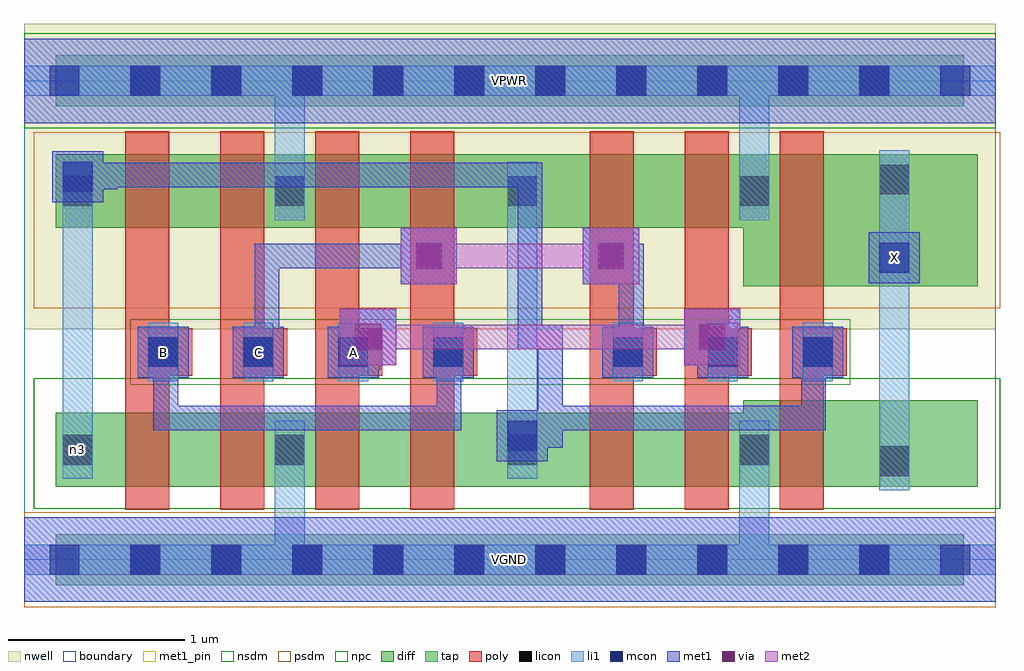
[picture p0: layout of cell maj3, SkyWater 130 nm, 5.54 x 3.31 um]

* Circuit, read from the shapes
.subckt maj3 A B C VGND VPWR X n3
XM1 n1 B n3 VGND sky130_fd_pr__nfet_01v8 w=0.42 l=0.25
XM2 VGND C n1 VGND sky130_fd_pr__nfet_01v8 w=0.42 l=0.25
XM3 n2 A VGND VGND sky130_fd_pr__nfet_01v8 w=0.42 l=0.25
XM4 n3 B n2 VGND sky130_fd_pr__nfet_01v8 w=0.42 l=0.25
XM5 n4 C n3 VGND sky130_fd_pr__nfet_01v8 w=0.42 l=0.25
XM6 VGND A n4 VGND sky130_fd_pr__nfet_01v8 w=0.42 l=0.25
XM7 X n3 VGND VGND sky130_fd_pr__nfet_01v8 w=0.49 l=0.25
XM8 n5 B n3 VPWR sky130_fd_pr__pfet_01v8 w=0.42 l=0.25
XM9 VPWR C n5 VPWR sky130_fd_pr__pfet_01v8 w=0.42 l=0.25
XM10 n6 A VPWR VPWR sky130_fd_pr__pfet_01v8 w=0.42 l=0.25
XM11 n3 B n6 VPWR sky130_fd_pr__pfet_01v8 w=0.42 l=0.25
XM12 n7 C n3 VPWR sky130_fd_pr__pfet_01v8 w=0.42 l=0.25
XM13 VPWR A n7 VPWR sky130_fd_pr__pfet_01v8 w=0.42 l=0.25
XM14 X n3 VPWR VPWR sky130_fd_pr__pfet_01v8 w=0.75 l=0.25
.ends

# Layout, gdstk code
import gdstk
lib = gdstk.Library(unit=1e-6, precision=1e-09)
def R(c, l, rs):  # rectangles x0, y0, x1, y1
    for r in rs: c.add(gdstk.rectangle(r[:2], r[2:], *l))
def A(c, l, x, y, w, h, nx, ny, dx, dy):  # array of equal rectangles
    R(c, l, [(x+i*dx, y+j*dy, x+i*dx+w, y+j*dy+h) for i in range(nx) for j in range(ny)])
nwell = (64, 20)
diff = (65, 20)
tap = (65, 44)
poly = (66, 20)
licon = (66, 44)
li1 = (67, 20)
mcon = (67, 44)
met1_pin = (68, 16)
met1 = (68, 20)
via = (68, 44)
met2 = (69, 20)
nsdm = (93, 44)
psdm = (94, 20)
npc = (95, 20)
boundary = (235, 4)

maj3 = lib.new_cell('maj3')
R(maj3, nwell, [(0,1.31,5.52,3.045)])
R(maj3, diff, [(0.18,0.415,4.295,0.835), (4.085,0.415,5.42,0.905), (4.085,1.555,5.42,2.305), (0.18,1.885,4.295,2.305)])
R(maj3, tap, [(0.18,-0.145,5.34,0.145), (0.18,2.575,5.34,2.865)])
A(maj3, poly, 0.575, 0.285, 0.25, 2.15, 4, 1, 0.54, 0)
A(maj3, poly, 3.215, 0.285, 0.25, 2.15, 3, 1, 0.54, 0)
A(maj3, poly, 0.625, 1.045, 0.33, 0.27, 4, 1, 0.54, 0)
A(maj3, poly, 3.265, 1.045, 0.33, 0.27, 3, 1, 0.54, 0)
A(maj3, licon, 0.605, -0.085, 0.17, 0.17, 10, 2, 0.46, 2.72)
A(maj3, licon, 1.425, 0.54, 0.17, 0.17, 3, 2, 1.32, 1.47)
A(maj3, licon, 0.705, 1.095, 0.17, 0.17, 4, 1, 0.54, 0)
A(maj3, licon, 3.345, 1.095, 0.17, 0.17, 3, 1, 0.54, 0)
R(maj3, licon, [(4.86,0.475,5.03,0.645), (0.22,0.54,0.39,0.71), (0.22,2.01,0.39,2.18), (4.86,2.075,5.03,2.245)])
A(maj3, li1, 1.425, 0.46, 0.17, 0.33, 3, 2, 1.32, 1.47)
A(maj3, li1, 0.705, 1.015, 0.17, 0.33, 4, 1, 0.54, 0)
A(maj3, li1, 3.345, 1.015, 0.17, 0.33, 3, 1, 0.54, 0)
R(maj3, li1, [(0,-0.085,5.52,0.085), (1.425,-0.085,1.595,0.79), (4.065,-0.085,4.235,0.79), (4.86,0.395,5.03,0.725), (4.86,0.395,5.03,2.325), (0.22,0.46,0.39,0.79), (0.22,0.46,0.39,2.26), (2.745,0.46,2.915,2.26), (0.22,1.93,0.39,2.26), (1.425,1.93,1.595,2.805), (4.065,1.93,4.235,2.805), (4.86,1.995,5.03,2.325), (0,2.635,5.52,2.805)])
A(maj3, mcon, 0.145, -0.085, 0.17, 0.17, 12, 2, 0.46, 2.72)
A(maj3, mcon, 0.705, 1.095, 0.17, 0.17, 4, 1, 0.54, 0)
A(maj3, mcon, 3.345, 1.095, 0.17, 0.17, 3, 1, 0.54, 0)
R(maj3, mcon, [(2.745,0.62,2.915,0.79), (4.86,1.63,5.03,1.8), (0.22,2.09,0.39,2.26)])
A(maj3, met1_pin, 0.645, 1.035, 0.29, 0.29, 3, 1, 0.54, 0)
R(maj3, met1_pin, [(0,-0.24,5.52,0.24), (4.8,1.57,5.09,1.86), (0,2.48,5.52,2.96)])
A(maj3, met1, 0.645, 1.035, 0.29, 0.29, 4, 1, 0.54, 0)
A(maj3, met1, 3.285, 1.035, 0.29, 0.29, 3, 1, 0.54, 0)
R(maj3, met1, [(0,-0.24,5.52,0.24), (2.685,0.56,2.975,0.85), (2.76,0.635,3.06,0.775), (2.92,0.635,3.06,0.875), (0.735,0.735,0.875,1.22), (0.735,0.735,2.485,0.875), (2.345,0.735,2.485,1.22), (2.92,0.735,4.555,0.875), (2.92,0.735,3.06,1.335), (4.415,0.735,4.555,1.22), (0.735,1.08,0.875,1.22), (1.31,1.08,1.45,1.22), (1.31,1.08,1.45,1.795), (1.77,1.08,1.91,1.22), (1.77,1.08,2.025,1.22), (1.885,1.08,2.025,1.335), (2.345,1.08,2.485,1.22), (3.38,1.08,3.52,1.22), (3.38,1.08,3.52,1.795), (3.84,1.08,3.98,1.22), (3.84,1.08,3.98,1.335), (4.415,1.08,4.555,1.22), (1.795,1.105,2.115,1.425), (3.75,1.105,4.07,1.425), (2.805,1.195,3.06,1.335), (2.805,1.195,2.945,2.255), (2.14,1.565,2.46,1.885), (3.175,1.565,3.495,1.885), (4.8,1.57,5.09,1.86), (1.31,1.655,2.37,1.795), (3.265,1.655,3.52,1.795), (0.16,2.03,0.45,2.32), (0.235,2.105,0.53,2.245), (0.39,2.105,0.53,2.255), (0.39,2.115,2.945,2.255), (0,2.48,5.52,2.96)])
R(maj3, via, [(1.88,1.19,2.03,1.34), (3.835,1.19,3.985,1.34), (2.225,1.65,2.375,1.8), (3.26,1.65,3.41,1.8)])
R(maj3, met2, [(1.795,1.105,2.115,1.425), (3.75,1.105,4.07,1.425), (1.885,1.195,3.98,1.335), (2.14,1.565,2.46,1.885), (3.175,1.565,3.495,1.885), (2.23,1.655,3.405,1.795)])
R(maj3, nsdm, [(0.055,0.29,5.545,1.03), (0,2.45,5.52,2.99)])
R(maj3, psdm, [(0,-0.27,5.52,0.27), (0.055,1.43,5.545,2.43)])
R(maj3, npc, [(0.605,0.995,4.695,1.365)])
R(maj3, boundary, [(0,0,5.52,2.72)])
maj3.add(gdstk.Label('n3', (0.305,0.625), layer=67, texttype=5))
maj3.add(gdstk.Label('A', (1.87,1.18), layer=68, texttype=5))
maj3.add(gdstk.Label('B', (0.79,1.18), layer=68, texttype=5))
maj3.add(gdstk.Label('C', (1.33,1.18), layer=68, texttype=5))
maj3.add(gdstk.Label('X', (4.945,1.715), layer=68, texttype=5))
maj3.add(gdstk.Label('VPWR', (2.76,2.72), layer=68, texttype=5))
maj3.add(gdstk.Label('VGND', (2.76,0), layer=68, texttype=5))
maj3.add(gdstk.Label('A', (1.87,1.18), layer=68, texttype=16))
maj3.add(gdstk.Label('B', (0.79,1.18), layer=68, texttype=16))
maj3.add(gdstk.Label('C', (1.33,1.18), layer=68, texttype=16))
maj3.add(gdstk.Label('X', (4.945,1.715), layer=68, texttype=16))
maj3.add(gdstk.Label('VPWR', (2.76,2.72), layer=68, texttype=16))
maj3.add(gdstk.Label('VGND', (2.76,0), layer=68, texttype=16))

lib.write_gds('maj3.gds')
